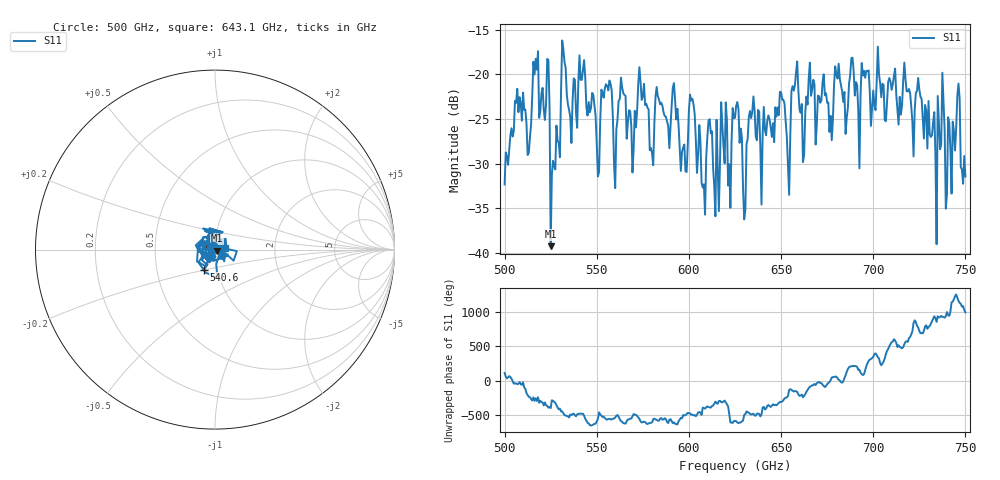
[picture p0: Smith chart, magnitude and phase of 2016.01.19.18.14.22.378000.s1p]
!Created with skrf (http://scikit-rf.org).
# GHz S RI R 50.0
!freq ReS11 ImS11
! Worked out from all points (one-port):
!   401 points, 500 GHz to 750 GHz, reference 50 ohm
!   lowest |S11| = -39.2 dB at 525 GHz (marker M1), VSWR 1.02, Z = 50.9 - j0.663 ohm
!   |S11| at or under -10 dB: start of sweep to end of sweep
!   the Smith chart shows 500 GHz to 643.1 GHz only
!   S11 on the Smith chart (normalised r, x): 500 GHz: 0.98, +0.04; 540.6 GHz: 0.86, -0.19; 643.1 GHz: 1.12, +0.02
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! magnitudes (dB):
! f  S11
! 500 GHz  -32.3
! 506.9 GHz  -21.6
! 513.1 GHz  -28.8
! 516.9 GHz  -18.2
! 525 GHz  -39.2
! 526.2 GHz  -29.7
! 531.2 GHz  -16.2
! 540.6 GHz  -17.9
! 550.6 GHz  -31.4
! 562.5 GHz  -22.8
! 593.8 GHz  -23.8
! 597.5 GHz  -27.8
! 601.9 GHz  -22.7
! 608.1 GHz  -32.3
! 611.2 GHz  -25.0
! 615 GHz  -25.1
! 625 GHz  -24.8
! 630 GHz  -36.2
! 633.8 GHz  -24.9
! 643.1 GHz  -24.6
! 650.6 GHz  -22.8
! 653.8 GHz  -30.2
! 656.2 GHz  -21.3
! 687.5 GHz  -20.1
! 718.8 GHz  -21.9
! 733.1 GHz  -24.2
! 745.6 GHz  -22.4
! 750 GHz  -31.4
